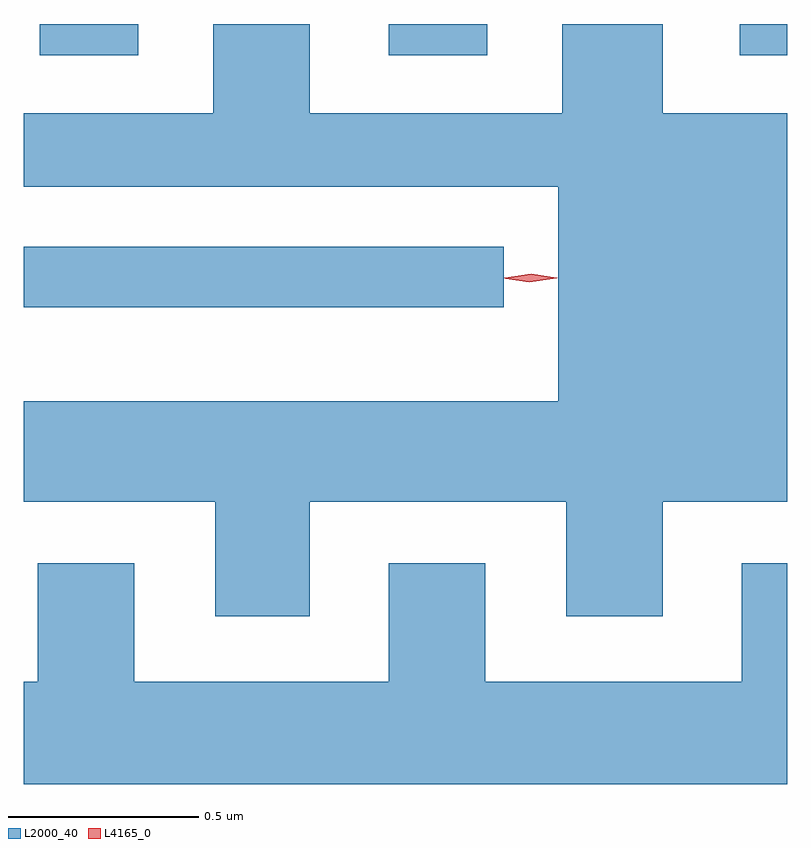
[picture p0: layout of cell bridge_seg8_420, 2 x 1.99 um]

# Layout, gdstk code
import gdstk
lib = gdstk.Library(unit=1e-6, precision=1e-09)
def R(c, l, rs):  # rectangles x0, y0, x1, y1
    for r in rs: c.add(gdstk.rectangle(r[:2], r[2:], *l))
def P(c, l, *ps):  # polygons
    for p in ps: c.add(gdstk.Polygon(p, *l))
L2000_40 = (2000, 40)
L4165_0 = (4165, 0)

bridge_seg8_420 = lib.new_cell('bridge_seg8_420')
R(bridge_seg8_420, L2000_40, [(627.41,1839.886,628.668,1840.044), (627.451,1840.546,627.709,1840.628), (628.366,1840.546,628.624,1840.628), (629.286,1840.546,629.41,1840.628)])
P(bridge_seg8_420, L2000_40, [(628.159,1839.376),(628.831,1839.376),(628.831,1839.076),(629.084,1839.076),(629.084,1839.376),(629.41,1839.376),(629.41,1840.394),(629.084,1840.394),(629.084,1840.628),(628.821,1840.628),(628.821,1840.394),(628.159,1840.394),(628.159,1840.628),(627.906,1840.628),(627.906,1840.394),(627.41,1840.394),(627.41,1840.201),(628.811,1840.201),(628.811,1839.639),(627.41,1839.639),(627.41,1839.376),(627.911,1839.376),(627.911,1839.076),(628.159,1839.076)],
  [(629.41,1839.214),(629.291,1839.214),(629.291,1838.904),(628.619,1838.904),(628.619,1839.214),(628.366,1839.214),(628.366,1838.904),(627.699,1838.904),(627.699,1839.214),(627.446,1839.214),(627.446,1838.904),(627.41,1838.904),(627.41,1838.636),(629.41,1838.636)])
P(bridge_seg8_420, L4165_0, [(628.739,1839.953),(628.67,1839.962),(628.669,1839.963),(628.67,1839.963),(628.739,1839.973),(628.807,1839.963),(628.808,1839.963),(628.807,1839.962)],
  [(628.735,1839.951),(628.673,1839.96),(628.673,1839.961),(628.673,1839.961),(628.735,1839.971),(628.797,1839.961),(628.798,1839.961),(628.797,1839.96)])

lib.write_gds('bridge_seg8_420.gds')
